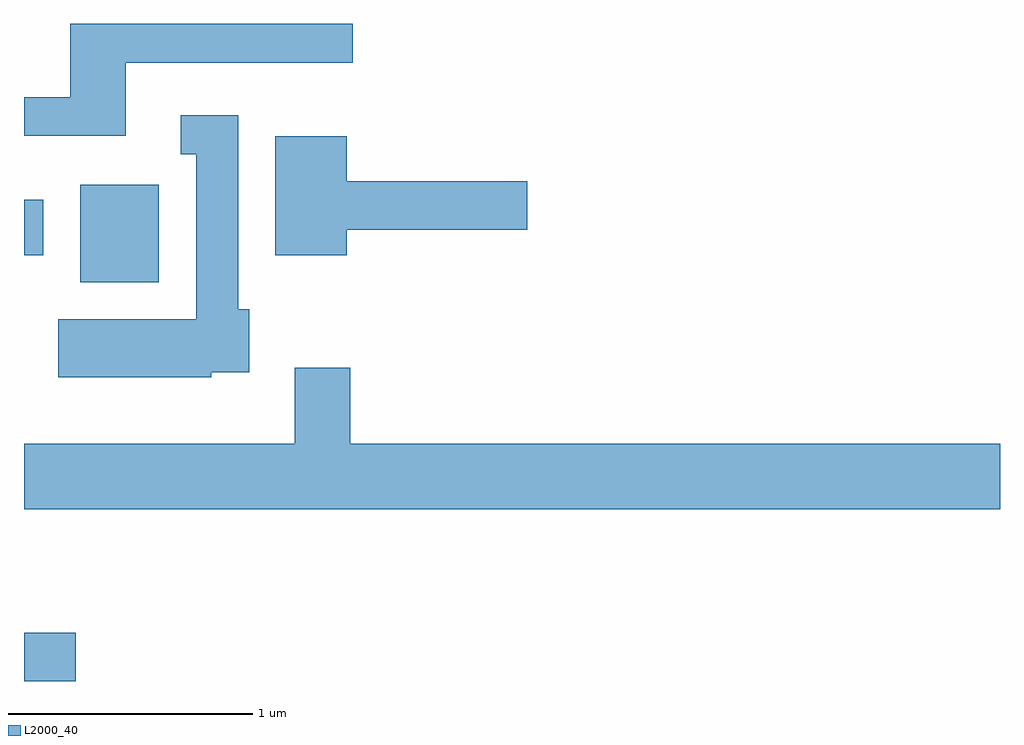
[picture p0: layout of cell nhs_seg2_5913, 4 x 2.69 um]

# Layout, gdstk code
import gdstk
lib = gdstk.Library(unit=1e-6, precision=1e-09)
def R(c, l, rs):  # rectangles x0, y0, x1, y1
    for r in rs: c.add(gdstk.rectangle(r[:2], r[2:], *l))
def P(c, l, *ps):  # polygons
    for p in ps: c.add(gdstk.Polygon(p, *l))
L2000_40 = (2000, 40)

nhs_seg2_5913 = lib.new_cell('nhs_seg2_5913')
R(nhs_seg2_5913, L2000_40, [(359.611,1040.951,359.824,1041.149), (359.841,1042.586,360.164,1042.984), (359.611,1042.696,359.689,1042.924)])
P(nhs_seg2_5913, L2000_40, [(360.029,1043.486),(360.958,1043.486),(360.958,1043.644),(359.801,1043.644),(359.801,1043.344),(359.611,1043.344),(359.611,1043.186),(360.029,1043.186)],
  [(360.379,1042.216),(360.534,1042.216),(360.534,1042.474),(360.489,1042.474),(360.489,1043.269),(360.253,1043.269),(360.253,1043.111),(360.316,1043.111),(360.316,1042.434),(359.751,1042.434),(359.751,1042.196),(360.379,1042.196)],
  [(360.934,1042.801),(361.674,1042.801),(361.674,1042.999),(360.934,1042.999),(360.934,1043.184),(360.641,1043.184),(360.641,1042.696),(360.934,1042.696)],
  [(363.611,1041.924),(360.949,1041.924),(360.949,1042.234),(360.721,1042.234),(360.721,1041.924),(359.611,1041.924),(359.611,1041.656),(363.611,1041.656)])

lib.write_gds('nhs_seg2_5913.gds')
